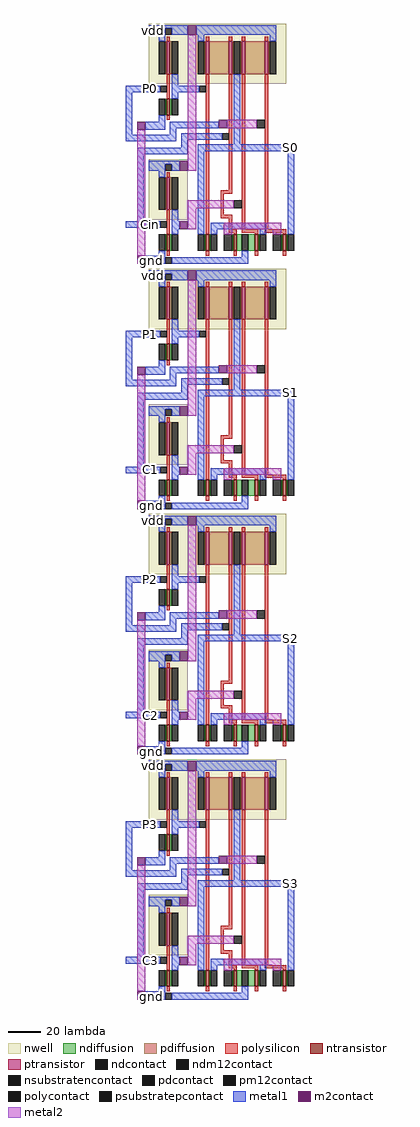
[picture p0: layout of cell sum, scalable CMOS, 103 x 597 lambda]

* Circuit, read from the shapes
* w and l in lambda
.subckt sum C1 C2 C3 Cin P0 P1 P2 P3 S0 S1 S2 S3 gnd vdd
M1 n1 C3 gnd gnd nfet w=10 l=2
M2 n2 P3 gnd gnd nfet w=10 l=2
M3 n3 C2 gnd gnd nfet w=10 l=2
M4 n4 P2 gnd gnd nfet w=10 l=2
M5 n5 C1 gnd gnd nfet w=10 l=2
M6 n6 P1 gnd gnd nfet w=10 l=2
M7 n7 Cin gnd gnd nfet w=10 l=2
M8 n8 P0 gnd gnd nfet w=10 l=2
M9 n9 n2 S3 gnd nfet w=10 l=2
M10 n10 n4 S2 gnd nfet w=10 l=2
M11 n11 n6 S1 gnd nfet w=10 l=2
M12 n12 n8 S0 gnd nfet w=10 l=2
M13 gnd C3 n13 gnd nfet w=10 l=2
M14 gnd C2 n14 gnd nfet w=10 l=2
M15 gnd C1 n15 gnd nfet w=10 l=2
M16 gnd Cin n16 gnd nfet w=10 l=2
M17 n9 n1 gnd gnd nfet w=10 l=2
M18 n10 n3 gnd gnd nfet w=10 l=2
M19 n11 n5 gnd gnd nfet w=10 l=2
M20 n12 n7 gnd gnd nfet w=10 l=2
M21 S3 P3 n13 gnd nfet w=10 l=2
M22 S2 P2 n14 gnd nfet w=10 l=2
M23 S1 P1 n15 gnd nfet w=10 l=2
M24 S0 P0 n16 gnd nfet w=10 l=2
M25 n1 C3 vdd vdd pfet w=20 l=2
M26 n2 P3 vdd vdd pfet w=20 l=2
M27 n3 C2 vdd vdd pfet w=20 l=2
M28 n4 P2 vdd vdd pfet w=20 l=2
M29 n5 C1 vdd vdd pfet w=20 l=2
M30 n6 P1 vdd vdd pfet w=20 l=2
M31 n7 Cin vdd vdd pfet w=20 l=2
M32 n8 P0 vdd vdd pfet w=20 l=2
M33 n17 n2 vdd vdd pfet w=20 l=2
M34 n18 n4 vdd vdd pfet w=20 l=2
M35 n19 n6 vdd vdd pfet w=20 l=2
M36 n20 n8 vdd vdd pfet w=20 l=2
M37 S3 C3 n17 vdd pfet w=20 l=2
M38 S2 C2 n18 vdd pfet w=20 l=2
M39 S1 C1 n19 vdd pfet w=20 l=2
M40 S0 Cin n20 vdd pfet w=20 l=2
M41 n21 n1 S3 vdd pfet w=20 l=2
M42 n22 n3 S2 vdd pfet w=20 l=2
M43 n23 n5 S1 vdd pfet w=20 l=2
M44 n24 n7 S0 vdd pfet w=20 l=2
M45 vdd P3 n21 vdd pfet w=20 l=2
M46 vdd P2 n22 vdd pfet w=20 l=2
M47 vdd P1 n23 vdd pfet w=20 l=2
M48 vdd P0 n24 vdd pfet w=20 l=2
.ends

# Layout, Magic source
magic
tech scmos
<< nwell >>
rect 14 110 98 147
rect 14 27 38 64
rect 14 -40 98 -3
rect 14 -123 38 -86
rect 14 -190 98 -153
rect 14 -273 38 -236
rect 14 -340 98 -303
rect 14 -423 38 -386
<< ntransistor >>
rect 25 91 27 101
rect 25 8 27 18
rect 49 8 51 18
rect 66 8 68 18
rect 79 8 81 18
rect 96 8 98 18
rect 25 -59 27 -49
rect 25 -142 27 -132
rect 49 -142 51 -132
rect 66 -142 68 -132
rect 79 -142 81 -132
rect 96 -142 98 -132
rect 25 -209 27 -199
rect 25 -292 27 -282
rect 49 -292 51 -282
rect 66 -292 68 -282
rect 79 -292 81 -282
rect 96 -292 98 -282
rect 25 -359 27 -349
rect 25 -442 27 -432
rect 49 -442 51 -432
rect 66 -442 68 -432
rect 79 -442 81 -432
rect 96 -442 98 -432
<< ptransistor >>
rect 25 116 27 136
rect 49 116 51 136
rect 63 116 65 136
rect 71 116 73 136
rect 85 116 87 136
rect 25 33 27 53
rect 25 -34 27 -14
rect 49 -34 51 -14
rect 63 -34 65 -14
rect 71 -34 73 -14
rect 85 -34 87 -14
rect 25 -117 27 -97
rect 25 -184 27 -164
rect 49 -184 51 -164
rect 63 -184 65 -164
rect 71 -184 73 -164
rect 85 -184 87 -164
rect 25 -267 27 -247
rect 25 -334 27 -314
rect 49 -334 51 -314
rect 63 -334 65 -314
rect 71 -334 73 -314
rect 85 -334 87 -314
rect 25 -417 27 -397
<< ndiffusion >>
rect 24 91 25 101
rect 27 91 28 101
rect 24 8 25 18
rect 27 8 28 18
rect 48 8 49 18
rect 51 8 52 18
rect 65 8 66 18
rect 68 8 71 18
rect 75 8 79 18
rect 81 8 82 18
rect 95 8 96 18
rect 98 8 99 18
rect 24 -59 25 -49
rect 27 -59 28 -49
rect 24 -142 25 -132
rect 27 -142 28 -132
rect 48 -142 49 -132
rect 51 -142 52 -132
rect 65 -142 66 -132
rect 68 -142 71 -132
rect 75 -142 79 -132
rect 81 -142 82 -132
rect 95 -142 96 -132
rect 98 -142 99 -132
rect 24 -209 25 -199
rect 27 -209 28 -199
rect 24 -292 25 -282
rect 27 -292 28 -282
rect 48 -292 49 -282
rect 51 -292 52 -282
rect 65 -292 66 -282
rect 68 -292 71 -282
rect 75 -292 79 -282
rect 81 -292 82 -282
rect 95 -292 96 -282
rect 98 -292 99 -282
rect 24 -359 25 -349
rect 27 -359 28 -349
rect 24 -442 25 -432
rect 27 -442 28 -432
rect 48 -442 49 -432
rect 51 -442 52 -432
rect 65 -442 66 -432
rect 68 -442 71 -432
rect 75 -442 79 -432
rect 81 -442 82 -432
rect 95 -442 96 -432
rect 98 -442 99 -432
<< pdiffusion >>
rect 24 116 25 136
rect 27 116 28 136
rect 48 116 49 136
rect 51 116 63 136
rect 65 116 66 136
rect 70 116 71 136
rect 73 116 85 136
rect 87 116 88 136
rect 24 33 25 53
rect 27 33 28 53
rect 24 -34 25 -14
rect 27 -34 28 -14
rect 48 -34 49 -14
rect 51 -34 63 -14
rect 65 -34 66 -14
rect 70 -34 71 -14
rect 73 -34 85 -14
rect 87 -34 88 -14
rect 24 -117 25 -97
rect 27 -117 28 -97
rect 24 -184 25 -164
rect 27 -184 28 -164
rect 48 -184 49 -164
rect 51 -184 63 -164
rect 65 -184 66 -164
rect 70 -184 71 -164
rect 73 -184 85 -164
rect 87 -184 88 -164
rect 24 -267 25 -247
rect 27 -267 28 -247
rect 24 -334 25 -314
rect 27 -334 28 -314
rect 48 -334 49 -314
rect 51 -334 63 -314
rect 65 -334 66 -314
rect 70 -334 71 -314
rect 73 -334 85 -314
rect 87 -334 88 -314
rect 24 -417 25 -397
rect 27 -417 28 -397
<< ndcontact >>
rect 20 91 24 101
rect 28 91 32 101
rect 20 8 24 18
rect 28 8 32 18
rect 44 8 48 18
rect 52 8 56 18
rect 71 8 75 18
rect 82 8 86 18
rect 99 8 103 18
rect 20 -59 24 -49
rect 28 -59 32 -49
rect 20 -142 24 -132
rect 28 -142 32 -132
rect 44 -142 48 -132
rect 52 -142 56 -132
rect 71 -142 75 -132
rect 82 -142 86 -132
rect 99 -142 103 -132
rect 20 -209 24 -199
rect 28 -209 32 -199
rect 20 -292 24 -282
rect 28 -292 32 -282
rect 44 -292 48 -282
rect 52 -292 56 -282
rect 71 -292 75 -282
rect 82 -292 86 -282
rect 99 -292 103 -282
rect 20 -359 24 -349
rect 28 -359 32 -349
rect 20 -442 24 -432
rect 28 -442 32 -432
rect 44 -442 48 -432
rect 52 -442 56 -432
rect 71 -442 75 -432
rect 82 -442 86 -432
rect 99 -442 103 -432
<< pdcontact >>
rect 20 116 24 136
rect 28 116 32 136
rect 44 116 48 136
rect 66 116 70 136
rect 88 116 92 136
rect 20 33 24 53
rect 28 33 32 53
rect 20 -34 24 -14
rect 28 -34 32 -14
rect 44 -34 48 -14
rect 66 -34 70 -14
rect 88 -34 92 -14
rect 20 -117 24 -97
rect 28 -117 32 -97
rect 20 -184 24 -164
rect 28 -184 32 -164
rect 44 -184 48 -164
rect 66 -184 70 -164
rect 88 -184 92 -164
rect 20 -267 24 -247
rect 28 -267 32 -247
rect 20 -334 24 -314
rect 28 -334 32 -314
rect 44 -334 48 -314
rect 66 -334 70 -314
rect 88 -334 92 -314
rect 20 -417 24 -397
rect 28 -417 32 -397
<< psubstratepcontact >>
rect 24 0 28 4
rect 24 -150 28 -146
rect 24 -300 28 -296
rect 24 -450 28 -446
<< nsubstratencontact >>
rect 24 140 28 144
rect 24 57 28 61
rect 24 -10 28 -6
rect 24 -93 28 -89
rect 24 -160 28 -156
rect 24 -243 28 -239
rect 24 -310 28 -306
rect 24 -393 28 -389
<< polysilicon >>
rect 25 136 27 139
rect 49 136 51 139
rect 63 136 65 139
rect 71 136 73 139
rect 85 136 87 139
rect 25 101 27 116
rect 25 88 27 91
rect 25 53 27 56
rect 25 18 27 33
rect 49 18 51 116
rect 63 45 65 116
rect 58 43 65 45
rect 58 30 60 43
rect 58 28 65 30
rect 63 21 65 28
rect 71 21 73 116
rect 85 21 87 116
rect 63 19 68 21
rect 71 19 81 21
rect 85 19 98 21
rect 66 18 68 19
rect 79 18 81 19
rect 96 18 98 19
rect 25 5 27 8
rect 49 5 51 8
rect 66 5 68 8
rect 79 5 81 8
rect 96 5 98 8
rect 25 -14 27 -11
rect 49 -14 51 -11
rect 63 -14 65 -11
rect 71 -14 73 -11
rect 85 -14 87 -11
rect 25 -49 27 -34
rect 25 -62 27 -59
rect 25 -97 27 -94
rect 25 -132 27 -117
rect 49 -132 51 -34
rect 63 -105 65 -34
rect 58 -107 65 -105
rect 58 -120 60 -107
rect 58 -122 65 -120
rect 63 -129 65 -122
rect 71 -129 73 -34
rect 85 -129 87 -34
rect 63 -131 68 -129
rect 71 -131 81 -129
rect 85 -131 98 -129
rect 66 -132 68 -131
rect 79 -132 81 -131
rect 96 -132 98 -131
rect 25 -145 27 -142
rect 49 -145 51 -142
rect 66 -145 68 -142
rect 79 -145 81 -142
rect 96 -145 98 -142
rect 25 -164 27 -161
rect 49 -164 51 -161
rect 63 -164 65 -161
rect 71 -164 73 -161
rect 85 -164 87 -161
rect 25 -199 27 -184
rect 25 -212 27 -209
rect 25 -247 27 -244
rect 25 -282 27 -267
rect 49 -282 51 -184
rect 63 -255 65 -184
rect 58 -257 65 -255
rect 58 -270 60 -257
rect 58 -272 65 -270
rect 63 -279 65 -272
rect 71 -279 73 -184
rect 85 -279 87 -184
rect 63 -281 68 -279
rect 71 -281 81 -279
rect 85 -281 98 -279
rect 66 -282 68 -281
rect 79 -282 81 -281
rect 96 -282 98 -281
rect 25 -295 27 -292
rect 49 -295 51 -292
rect 66 -295 68 -292
rect 79 -295 81 -292
rect 96 -295 98 -292
rect 25 -314 27 -311
rect 49 -314 51 -311
rect 63 -314 65 -311
rect 71 -314 73 -311
rect 85 -314 87 -311
rect 25 -349 27 -334
rect 25 -362 27 -359
rect 25 -397 27 -394
rect 25 -432 27 -417
rect 49 -432 51 -334
rect 63 -405 65 -334
rect 58 -407 65 -405
rect 58 -420 60 -407
rect 58 -422 65 -420
rect 63 -429 65 -422
rect 71 -429 73 -334
rect 85 -429 87 -334
rect 63 -431 68 -429
rect 71 -431 81 -429
rect 85 -431 98 -429
rect 66 -432 68 -431
rect 79 -432 81 -431
rect 96 -432 98 -431
rect 25 -445 27 -442
rect 49 -445 51 -442
rect 66 -445 68 -442
rect 79 -445 81 -442
rect 96 -445 98 -442
<< polycontact >>
rect 21 105 25 109
rect 45 105 49 109
rect 21 22 25 26
rect 59 76 63 80
rect 21 -45 25 -41
rect 45 -45 49 -41
rect 21 -128 25 -124
rect 59 -74 63 -70
rect 21 -195 25 -191
rect 45 -195 49 -191
rect 21 -278 25 -274
rect 59 -224 63 -220
rect 21 -345 25 -341
rect 45 -345 49 -341
rect 21 -428 25 -424
rect 59 -374 63 -370
<< metal1 >>
rect 14 144 38 146
rect 14 140 24 144
rect 28 140 38 144
rect 43 140 92 146
rect 20 136 24 140
rect 44 136 48 140
rect 88 136 92 140
rect 28 109 32 116
rect 0 105 21 109
rect 28 105 45 109
rect 0 79 4 105
rect 28 101 32 105
rect 20 87 24 91
rect 12 82 24 87
rect 27 83 57 87
rect 27 79 31 83
rect 0 75 31 79
rect 34 76 59 80
rect 34 71 38 76
rect 66 73 70 116
rect 7 67 38 71
rect 44 69 103 73
rect 7 26 11 67
rect 14 61 33 63
rect 14 57 24 61
rect 28 57 33 61
rect 20 53 24 57
rect 28 26 32 33
rect 0 22 21 26
rect 28 21 33 26
rect 28 18 32 21
rect 44 18 48 69
rect 52 21 86 25
rect 52 18 56 21
rect 82 18 86 21
rect 99 18 103 69
rect 20 5 24 8
rect 12 0 24 5
rect 71 4 75 8
rect 28 0 75 4
rect 14 -6 38 -4
rect 14 -10 24 -6
rect 28 -10 38 -6
rect 43 -10 92 -4
rect 20 -14 24 -10
rect 44 -14 48 -10
rect 88 -14 92 -10
rect 28 -41 32 -34
rect 0 -45 21 -41
rect 28 -45 45 -41
rect 0 -71 4 -45
rect 28 -49 32 -45
rect 20 -63 24 -59
rect 12 -68 24 -63
rect 27 -67 57 -63
rect 27 -71 31 -67
rect 0 -75 31 -71
rect 34 -74 59 -70
rect 34 -79 38 -74
rect 66 -77 70 -34
rect 7 -83 38 -79
rect 44 -81 103 -77
rect 7 -124 11 -83
rect 14 -89 33 -87
rect 14 -93 24 -89
rect 28 -93 33 -89
rect 20 -97 24 -93
rect 28 -124 32 -117
rect 0 -128 21 -124
rect 28 -129 33 -124
rect 28 -132 32 -129
rect 44 -132 48 -81
rect 52 -129 86 -125
rect 52 -132 56 -129
rect 82 -132 86 -129
rect 99 -132 103 -81
rect 20 -145 24 -142
rect 12 -150 24 -145
rect 71 -146 75 -142
rect 28 -150 75 -146
rect 14 -156 38 -154
rect 14 -160 24 -156
rect 28 -160 38 -156
rect 43 -160 92 -154
rect 20 -164 24 -160
rect 44 -164 48 -160
rect 88 -164 92 -160
rect 28 -191 32 -184
rect 0 -195 21 -191
rect 28 -195 45 -191
rect 0 -221 4 -195
rect 28 -199 32 -195
rect 20 -213 24 -209
rect 12 -218 24 -213
rect 27 -217 57 -213
rect 27 -221 31 -217
rect 0 -225 31 -221
rect 34 -224 59 -220
rect 34 -229 38 -224
rect 66 -227 70 -184
rect 7 -233 38 -229
rect 44 -231 103 -227
rect 7 -274 11 -233
rect 14 -239 33 -237
rect 14 -243 24 -239
rect 28 -243 33 -239
rect 20 -247 24 -243
rect 28 -274 32 -267
rect 0 -278 21 -274
rect 28 -279 33 -274
rect 28 -282 32 -279
rect 44 -282 48 -231
rect 52 -279 86 -275
rect 52 -282 56 -279
rect 82 -282 86 -279
rect 99 -282 103 -231
rect 20 -295 24 -292
rect 12 -300 24 -295
rect 71 -296 75 -292
rect 28 -300 75 -296
rect 14 -306 38 -304
rect 14 -310 24 -306
rect 28 -310 38 -306
rect 43 -310 92 -304
rect 20 -314 24 -310
rect 44 -314 48 -310
rect 88 -314 92 -310
rect 28 -341 32 -334
rect 0 -345 21 -341
rect 28 -345 45 -341
rect 0 -371 4 -345
rect 28 -349 32 -345
rect 20 -363 24 -359
rect 12 -368 24 -363
rect 27 -367 57 -363
rect 27 -371 31 -367
rect 0 -375 31 -371
rect 34 -374 59 -370
rect 34 -379 38 -374
rect 66 -377 70 -334
rect 7 -383 38 -379
rect 44 -381 103 -377
rect 7 -424 11 -383
rect 14 -389 33 -387
rect 14 -393 24 -389
rect 28 -393 33 -389
rect 20 -397 24 -393
rect 28 -424 32 -417
rect 0 -428 21 -424
rect 28 -429 33 -424
rect 28 -432 32 -429
rect 44 -432 48 -381
rect 52 -429 86 -425
rect 52 -432 56 -429
rect 82 -432 86 -429
rect 99 -432 103 -381
rect 20 -445 24 -442
rect 12 -450 24 -445
rect 71 -446 75 -442
rect 28 -450 75 -446
<< m2contact >>
rect 38 140 43 146
rect 7 82 12 87
rect 57 83 62 88
rect 33 57 38 63
rect 33 21 38 26
rect 7 0 12 5
rect 38 -10 43 -4
rect 7 -68 12 -63
rect 57 -67 62 -62
rect 33 -93 38 -87
rect 33 -129 38 -124
rect 7 -150 12 -145
rect 38 -160 43 -154
rect 7 -218 12 -213
rect 57 -217 62 -212
rect 33 -243 38 -237
rect 33 -279 38 -274
rect 7 -300 12 -295
rect 38 -310 43 -304
rect 7 -368 12 -363
rect 57 -367 62 -362
rect 33 -393 38 -387
rect 33 -429 38 -424
rect 7 -450 12 -445
<< pm12contact >>
rect 80 83 85 88
rect 66 34 71 39
rect 80 -67 85 -62
rect 66 -116 71 -111
rect 80 -217 85 -212
rect 66 -266 71 -261
rect 80 -367 85 -362
rect 66 -416 71 -411
<< ndm12contact >>
rect 60 8 65 18
rect 90 8 95 18
rect 60 -142 65 -132
rect 90 -142 95 -132
rect 60 -292 65 -282
rect 90 -292 95 -282
rect 60 -442 65 -432
rect 90 -442 95 -432
<< metal2 >>
rect 7 5 12 82
rect 38 57 43 140
rect 62 83 80 88
rect 38 34 66 39
rect 38 21 43 34
rect 60 21 95 25
rect 60 18 65 21
rect 90 18 95 21
rect 7 -145 12 -68
rect 38 -93 43 -10
rect 62 -67 80 -62
rect 38 -116 66 -111
rect 38 -129 43 -116
rect 60 -129 95 -125
rect 60 -132 65 -129
rect 90 -132 95 -129
rect 7 -295 12 -218
rect 38 -243 43 -160
rect 62 -217 80 -212
rect 38 -266 66 -261
rect 38 -279 43 -266
rect 60 -279 95 -275
rect 60 -282 65 -279
rect 90 -282 95 -279
rect 7 -445 12 -368
rect 38 -393 43 -310
rect 62 -367 80 -362
rect 38 -416 66 -411
rect 38 -429 43 -416
rect 60 -429 95 -425
rect 60 -432 65 -429
rect 90 -432 95 -429
<< labels >>
rlabel metal1 17 143 17 143 4 vdd
rlabel metal1 16 2 16 2 2 gnd
rlabel metal1 101 71 101 71 7 S0
rlabel metal1 15 107 15 107 1 P0
rlabel metal1 15 24 15 24 1 Cin
rlabel metal1 17 -7 17 -7 4 vdd
rlabel metal1 16 -148 16 -148 2 gnd
rlabel metal1 17 -157 17 -157 4 vdd
rlabel metal1 16 -298 16 -298 2 gnd
rlabel metal1 17 -307 17 -307 4 vdd
rlabel metal1 16 -448 16 -448 2 gnd
rlabel metal1 15 -43 15 -43 1 P1
rlabel metal1 15 -126 15 -126 1 C1
rlabel metal1 15 -193 15 -193 1 P2
rlabel metal1 15 -276 15 -276 1 C2
rlabel metal1 15 -343 15 -343 1 P3
rlabel metal1 15 -426 15 -426 1 C3
rlabel metal1 101 -379 101 -379 7 S3
rlabel metal1 101 -229 101 -229 7 S2
rlabel metal1 101 -79 101 -79 7 S1
<< end >>
